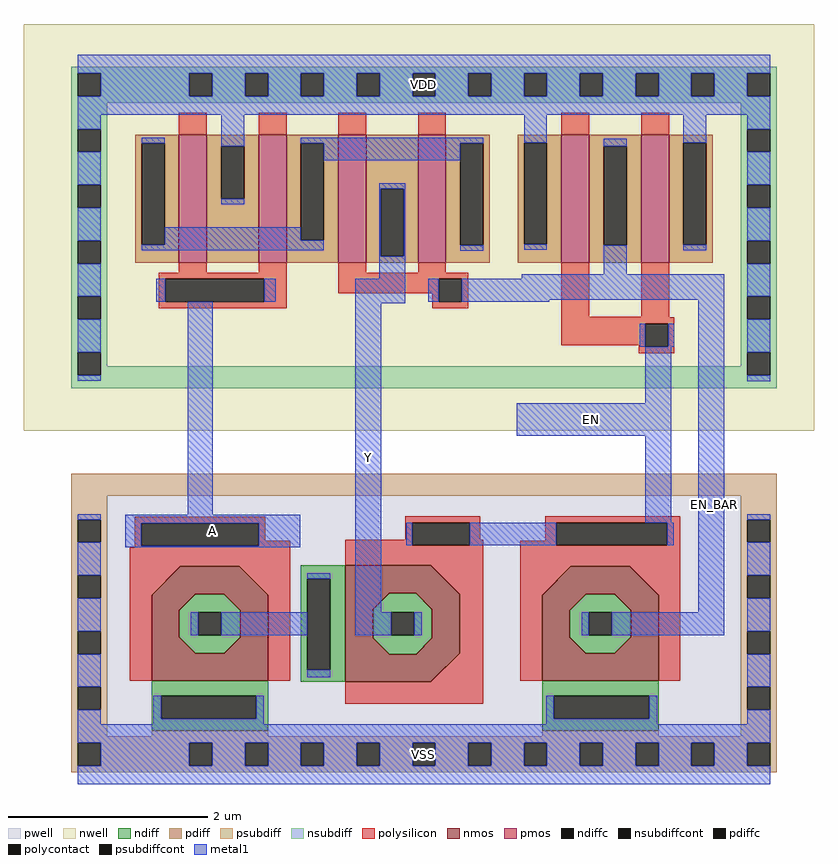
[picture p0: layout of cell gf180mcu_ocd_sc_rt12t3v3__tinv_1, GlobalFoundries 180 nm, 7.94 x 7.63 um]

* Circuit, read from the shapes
.subckt gf180mcu_ocd_sc_rt12t3v3__tinv_1 A EN VDD VSS Y
XM1 n1 A VSS VSS nfet_03v3 w=1.785u l=0.5343u
XM2 Y EN n1 VSS nfet_03v3 w=1.785u l=0.5259u
XM3 EN_BAR EN VSS VSS nfet_03v3 w=1.775u l=0.5326u
XM4 VDD A n2 VDD pfet_03v3 w=1.285u l=0.28u m=2
XM5 Y EN_BAR n2 VDD pfet_03v3 w=1.285u l=0.28u m=2
XM6 EN_BAR EN VDD VDD pfet_03v3 w=1.285u l=0.28u m=2
.ends

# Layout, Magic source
magic
tech gf180mcuD
magscale 1 10
<< nwell >>
rect -132 649 1456 1466
<< pwell >>
rect -36 -36 1380 563
<< nmos >>
tri 125 319 183 377 se
rect 183 321 301 377
rect 183 319 211 321
tri 211 319 213 321 nw
tri 271 319 273 321 ne
rect 273 319 301 321
tri 301 319 359 377 sw
rect 125 203 181 319
tri 181 289 211 319 nw
tri 273 289 303 319 ne
tri 181 203 213 235 sw
tri 271 203 303 235 se
rect 303 203 359 319
rect 125 147 359 203
rect 514 323 686 379
rect 514 201 570 323
tri 570 291 602 323 nw
tri 656 293 686 323 ne
tri 686 321 744 379 sw
rect 686 293 744 321
tri 686 291 688 293 ne
tri 570 201 602 233 sw
tri 686 231 688 233 se
rect 688 231 744 293
tri 656 201 686 231 se
rect 686 203 744 231
rect 514 145 686 201
tri 686 145 744 203 nw
tri 909 319 967 377 se
rect 967 321 1085 377
rect 967 319 995 321
tri 995 319 997 321 nw
tri 1055 319 1057 321 ne
rect 1057 319 1085 321
tri 1085 319 1143 377 sw
rect 909 203 965 319
tri 965 289 995 319 nw
tri 1057 289 1087 319 ne
tri 965 203 997 235 sw
tri 1055 203 1087 235 se
rect 1087 203 1143 319
rect 909 147 1143 203
<< pmos >>
rect 180 987 236 1244
rect 340 987 396 1244
rect 500 987 556 1244
rect 660 987 716 1244
rect 948 987 1004 1244
rect 1108 987 1164 1244
<< ndiff >>
tri 211 319 213 321 se
rect 213 319 271 321
tri 271 319 273 321 sw
tri 181 289 211 319 se
rect 211 289 273 319
tri 273 289 303 319 sw
rect 181 285 303 289
rect 181 239 219 285
rect 265 239 303 285
rect 181 235 303 239
tri 181 203 213 235 ne
rect 213 203 271 235
tri 271 203 303 235 nw
rect 425 352 514 379
rect 425 169 438 352
rect 484 169 514 352
tri 570 291 602 323 se
rect 602 293 656 323
tri 656 293 686 323 sw
rect 602 291 686 293
tri 686 291 688 293 sw
rect 570 285 688 291
rect 570 239 606 285
rect 652 239 688 285
rect 570 233 688 239
tri 570 201 602 233 ne
rect 602 231 686 233
tri 686 231 688 233 nw
rect 602 201 656 231
tri 656 201 686 231 nw
rect 125 117 359 147
rect 425 145 514 169
tri 995 319 997 321 se
rect 997 319 1055 321
tri 1055 319 1057 321 sw
tri 965 289 995 319 se
rect 995 289 1057 319
tri 1057 289 1087 319 sw
rect 965 285 1087 289
rect 965 239 1003 285
rect 1049 239 1087 285
rect 965 235 1087 239
tri 965 203 997 235 ne
rect 997 203 1055 235
tri 1055 203 1087 235 nw
rect 125 71 144 117
rect 335 71 359 117
rect 909 117 1143 147
rect 125 47 359 71
rect 909 71 933 117
rect 1124 71 1143 117
rect 909 47 1143 71
<< pdiff >>
rect 92 1227 180 1244
rect 92 1023 105 1227
rect 151 1023 180 1227
rect 92 987 180 1023
rect 236 1221 340 1244
rect 236 1115 265 1221
rect 311 1115 340 1221
rect 236 987 340 1115
rect 396 1227 500 1244
rect 396 1032 425 1227
rect 471 1032 500 1227
rect 396 987 500 1032
rect 556 1135 660 1244
rect 556 1000 585 1135
rect 631 1000 660 1135
rect 556 987 660 1000
rect 716 1227 804 1244
rect 716 1022 745 1227
rect 791 1022 804 1227
rect 716 987 804 1022
rect 860 1228 948 1244
rect 860 1024 873 1228
rect 919 1024 948 1228
rect 860 987 948 1024
rect 1004 1221 1108 1244
rect 1004 1022 1033 1221
rect 1079 1022 1108 1221
rect 1004 987 1108 1022
rect 1164 1228 1252 1244
rect 1164 1023 1193 1228
rect 1239 1023 1252 1228
rect 1164 987 1252 1023
<< ndiffc >>
rect 219 239 265 285
rect 438 169 484 352
rect 606 239 652 285
rect 1003 239 1049 285
rect 144 71 335 117
rect 933 71 1124 117
<< pdiffc >>
rect 105 1023 151 1227
rect 265 1115 311 1221
rect 425 1032 471 1227
rect 585 1000 631 1135
rect 745 1022 791 1227
rect 873 1024 919 1228
rect 1033 1022 1079 1221
rect 1193 1023 1239 1228
<< psubdiff >>
rect -36 519 1380 563
rect -36 471 36 519
rect -36 425 -23 471
rect 23 425 36 471
rect -36 359 36 425
rect -36 313 -23 359
rect 23 313 36 359
rect -36 247 36 313
rect -36 201 -23 247
rect 23 201 36 247
rect -36 135 36 201
rect -36 89 -23 135
rect 23 89 36 135
rect -36 36 36 89
rect 1308 471 1380 519
rect 1308 425 1321 471
rect 1367 425 1380 471
rect 1308 359 1380 425
rect 1308 313 1321 359
rect 1367 313 1380 359
rect 1308 247 1380 313
rect 1308 201 1321 247
rect 1367 201 1380 247
rect 125 36 359 47
rect 909 36 1143 47
rect 1308 135 1380 201
rect 1308 89 1321 135
rect 1367 89 1380 135
rect 1308 36 1380 89
rect -36 23 1380 36
rect -36 -23 -23 23
rect 23 -23 201 23
rect 247 -23 313 23
rect 359 -23 425 23
rect 471 -23 537 23
rect 583 -23 649 23
rect 695 -23 761 23
rect 807 -23 873 23
rect 919 -23 985 23
rect 1031 -23 1097 23
rect 1143 -23 1209 23
rect 1255 -23 1321 23
rect 1367 -23 1380 23
rect -36 -36 1380 -23
<< nsubdiff >>
rect -36 1367 1380 1380
rect -36 1321 -23 1367
rect 23 1321 201 1367
rect 247 1321 313 1367
rect 359 1321 425 1367
rect 471 1321 537 1367
rect 583 1321 649 1367
rect 695 1321 761 1367
rect 807 1321 873 1367
rect 919 1321 985 1367
rect 1031 1321 1097 1367
rect 1143 1321 1209 1367
rect 1255 1321 1321 1367
rect 1367 1321 1380 1367
rect -36 1308 1380 1321
rect -36 1255 36 1308
rect -36 1209 -23 1255
rect 23 1209 36 1255
rect 1308 1255 1380 1308
rect -36 1143 36 1209
rect -36 1097 -23 1143
rect 23 1097 36 1143
rect -36 1031 36 1097
rect -36 985 -23 1031
rect 23 985 36 1031
rect 1308 1209 1321 1255
rect 1367 1209 1380 1255
rect 1308 1143 1380 1209
rect 1308 1097 1321 1143
rect 1367 1097 1380 1143
rect 1308 1031 1380 1097
rect -36 919 36 985
rect -36 873 -23 919
rect 23 873 36 919
rect -36 807 36 873
rect 1308 985 1321 1031
rect 1367 985 1380 1031
rect 1308 919 1380 985
rect -36 761 -23 807
rect 23 779 36 807
rect 1308 873 1321 919
rect 1367 873 1380 919
rect 1308 807 1380 873
rect 1308 779 1321 807
rect 23 761 1321 779
rect 1367 761 1380 807
rect -36 735 1380 761
<< psubdiffcont >>
rect -23 425 23 471
rect -23 313 23 359
rect -23 201 23 247
rect -23 89 23 135
rect 1321 425 1367 471
rect 1321 313 1367 359
rect 1321 201 1367 247
rect 1321 89 1367 135
rect -23 -23 23 23
rect 201 -23 247 23
rect 313 -23 359 23
rect 425 -23 471 23
rect 537 -23 583 23
rect 649 -23 695 23
rect 761 -23 807 23
rect 873 -23 919 23
rect 985 -23 1031 23
rect 1097 -23 1143 23
rect 1209 -23 1255 23
rect 1321 -23 1367 23
<< nsubdiffcont >>
rect -23 1321 23 1367
rect 201 1321 247 1367
rect 313 1321 359 1367
rect 425 1321 471 1367
rect 537 1321 583 1367
rect 649 1321 695 1367
rect 761 1321 807 1367
rect 873 1321 919 1367
rect 985 1321 1031 1367
rect 1097 1321 1143 1367
rect 1209 1321 1255 1367
rect 1321 1321 1367 1367
rect -23 1209 23 1255
rect -23 1097 23 1143
rect -23 985 23 1031
rect 1321 1209 1367 1255
rect 1321 1097 1367 1143
rect -23 873 23 919
rect 1321 985 1367 1031
rect -23 761 23 807
rect 1321 873 1367 919
rect 1321 761 1367 807
<< polysilicon >>
rect 180 1244 236 1288
rect 340 1244 396 1288
rect 500 1244 556 1288
rect 660 1244 716 1288
rect 948 1244 1004 1288
rect 1108 1244 1164 1288
rect 180 967 236 987
rect 340 967 396 987
rect 139 954 396 967
rect 139 908 152 954
rect 351 908 396 954
rect 500 967 556 987
rect 660 967 716 987
rect 500 954 761 967
rect 500 925 702 954
rect 139 895 396 908
rect 689 908 702 925
rect 748 908 761 954
rect 689 895 761 908
rect 948 878 1004 987
rect 1108 878 1164 987
rect 948 877 1164 878
rect 948 864 1175 877
rect 948 821 1116 864
rect 1103 818 1116 821
rect 1162 818 1175 864
rect 1103 805 1175 818
rect 91 464 353 477
rect 91 418 104 464
rect 340 428 353 464
rect 634 465 785 478
rect 634 430 648 465
rect 340 418 403 428
rect 91 415 403 418
rect 81 377 403 415
rect 514 419 648 430
rect 764 430 785 465
rect 915 465 1187 478
rect 764 419 791 430
rect 915 428 938 465
rect 514 379 791 419
rect 81 147 125 377
tri 125 319 183 377 nw
tri 301 319 359 377 ne
rect 359 147 403 377
tri 686 321 744 379 ne
tri 686 145 744 203 se
rect 744 145 791 379
rect 865 419 938 428
rect 1160 419 1187 465
rect 865 377 1187 419
rect 865 147 909 377
tri 909 319 967 377 nw
tri 1085 319 1143 377 ne
rect 1143 147 1187 377
rect 514 101 791 145
<< polycontact >>
rect 152 908 351 954
rect 702 908 748 954
rect 1116 818 1162 864
rect 104 418 340 464
rect 648 419 764 465
rect 938 419 1160 465
<< metal1 >>
rect -23 1367 1367 1404
rect 23 1321 201 1367
rect 247 1321 313 1367
rect 359 1321 425 1367
rect 471 1321 537 1367
rect 583 1321 649 1367
rect 695 1321 761 1367
rect 807 1321 873 1367
rect 919 1321 985 1367
rect 1031 1321 1097 1367
rect 1143 1321 1209 1367
rect 1255 1321 1321 1367
rect -23 1284 1367 1321
rect -23 1255 23 1284
rect -23 1143 23 1209
rect -23 1031 23 1097
rect 105 1227 151 1238
rect 265 1221 311 1284
rect 265 1104 311 1115
rect 425 1227 791 1238
rect 151 1032 425 1058
rect 471 1192 745 1227
rect 151 1023 471 1032
rect 105 1012 471 1023
rect 582 1135 634 1146
rect -23 919 23 985
rect 582 1000 585 1135
rect 631 1000 634 1135
rect 745 1011 791 1022
rect 873 1228 919 1284
rect 873 1013 919 1024
rect 1033 1221 1079 1236
rect 582 954 634 1000
rect 1033 964 1079 1022
rect 1193 1228 1239 1284
rect 1193 1012 1239 1023
rect 1321 1255 1367 1284
rect 1321 1143 1367 1209
rect 1321 1031 1367 1097
rect 868 954 1275 964
rect 134 908 152 954
rect 351 908 374 954
rect -23 807 23 873
rect -23 750 23 761
rect -23 471 23 482
rect 198 481 248 908
rect 534 905 634 954
rect 681 908 702 954
rect 748 912 1275 954
rect 748 908 924 912
rect -23 359 23 425
rect 72 464 424 481
rect 72 418 104 464
rect 340 418 424 464
rect 72 415 424 418
rect -23 247 23 313
rect 438 352 484 363
rect 204 239 219 285
rect 265 239 438 285
rect -23 135 23 201
rect 534 285 586 905
rect 1105 818 1116 864
rect 1162 818 1175 864
rect 1116 705 1168 818
rect 858 639 1168 705
rect 1116 465 1168 639
rect 636 419 648 465
rect 764 419 938 465
rect 1160 419 1174 465
rect 1223 285 1275 912
rect 1321 919 1367 985
rect 1321 807 1367 873
rect 1321 749 1367 761
rect 534 239 606 285
rect 652 239 668 285
rect 989 239 1003 285
rect 1049 239 1275 285
rect 1321 471 1367 482
rect 1321 359 1367 425
rect 1321 247 1367 313
rect 438 154 484 169
rect 1321 135 1367 201
rect -23 60 23 89
rect 128 71 144 117
rect 335 71 350 117
rect 128 60 350 71
rect 918 71 933 117
rect 1124 71 1140 117
rect 918 60 1140 71
rect 1321 60 1367 89
rect -23 23 1367 60
rect 23 -23 201 23
rect 247 -23 313 23
rect 359 -23 425 23
rect 471 -23 537 23
rect 583 -23 649 23
rect 695 -23 761 23
rect 807 -23 873 23
rect 919 -23 985 23
rect 1031 -23 1097 23
rect 1143 -23 1209 23
rect 1255 -23 1321 23
rect -23 -60 1367 -23
<< labels >>
flabel metal1 s 72 415 424 481 0 FreeSans 320 0 0 0 A
port 1 nsew signal input
flabel metal1 534 239 586 954 0 FreeSans 320 0 0 0 Y
port 9 nsew
flabel metal1 1255 502 1255 502 0 FreeSans 320 90 0 0 EN_BAR
flabel metal1 s 0 1284 1344 1404 0 FreeSans 400 180 0 0 VDD
port 7 nsew power bidirectional abutment
flabel metal1 s 0 -60 1344 60 0 FreeSans 400 180 0 0 VSS
port 8 nsew ground bidirectional abutment
flabel metal1 s 858 639 1158 705 0 FreeSans 320 180 0 0 EN
port 2 nsew signal input
<< properties >>
string FIXED_BBOX 0 0 1344 1344
<< end >>
